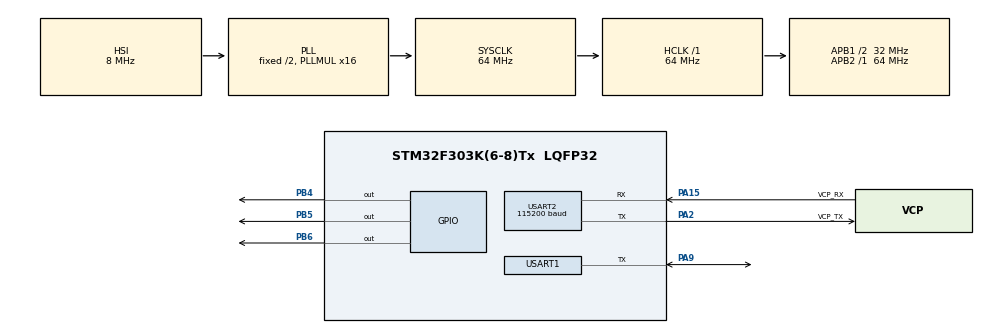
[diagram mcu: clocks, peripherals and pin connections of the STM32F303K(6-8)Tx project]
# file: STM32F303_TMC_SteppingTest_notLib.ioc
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Mcu.Family=STM32F3
Mcu.Name=STM32F303K(6-8)Tx
Mcu.Package=LQFP32
NVIC.PriorityGroup=NVIC_PRIORITYGROUP_4
NVIC.TIM3_IRQn=true\:0\:0\:false\:false\:true\:true\:true\:true
NVIC.USART2_IRQn=true\:0\:0\:false\:false\:true\:true\:true\:true
PA13.GPIO_Label=SWDIO
PA13.Mode=Serial_Wire
PA13.Signal=SYS_JTMS-SWDIO
PA14.GPIO_Label=SWCLK
PA14.Mode=Serial_Wire
PA14.Signal=SYS_JTCK-SWCLK
PA15.GPIO_Label=VCP_RX
PA15.Mode=Asynchronous
PA15.Signal=USART2_RX
PA2.GPIO_Label=VCP_TX
PA2.Mode=Asynchronous
PA2.Signal=USART2_TX
PA9.Mode=Half_duplex(single_wire_mode)
PA9.Signal=USART1_TX
PB4.Signal=GPIO_Output
PB5.Signal=GPIO_Output
PB6.Signal=GPIO_Output
PF0\ /\ OSC_IN.GPIO_Label=MCO
PF0\ /\ OSC_IN.Signal=RCC_OSC_IN
ProjectManager.HeapSize=0x200
ProjectManager.StackSize=0x400
ProjectManager.TargetToolchain=STM32CubeIDE
RCC.AHBFreq_Value=64000000
RCC.APB1CLKDivider=RCC_HCLK_DIV2
RCC.APB1Freq_Value=32000000
RCC.APB1TimFreq_Value=64000000
RCC.APB2Freq_Value=64000000
RCC.APB2TimFreq_Value=64000000
RCC.CortexFreq_Value=64000000
RCC.HCLKFreq_Value=64000000
RCC.HSE_VALUE=8000000
RCC.HSI_VALUE=8000000
RCC.PLLMUL=RCC_PLL_MUL16
RCC.SYSCLKFreq_VALUE=64000000
RCC.SYSCLKSourceVirtual=RCC_SYSCLKSOURCE_PLLCLK
USART1.BaudRate=115200
USART1.VirtualMode-Half_duplex(single_wire_mode)=VM_ASYNC
USART2.BaudRate=115200
USART2.VirtualMode-Asynchronous=VM_ASYNC
VP_TIM3_VS_ClockSourceINT.Mode=Internal
board=NUCLEO-F303K8

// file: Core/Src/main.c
/* USER CODE BEGIN Header */
/**
  ******************************************************************************
  * @file           : main.c
  * @brief          : Main program body
  ******************************************************************************
  * @attention
  *
  * Copyright (c) 2022 STMicroelectronics.
  * All rights reserved.
  *
  * This software is licensed under terms that can be found in the LICENSE file
  * in the root directory of this software component.
  * If no LICENSE file comes with this software, it is provided AS-IS.
  *
  ******************************************************************************
  */
/* USER CODE END Header */
#include "main.h"

/* USER CODE BEGIN Includes */
#include <stdio.h>
#include "tmc/ic/TMC2209/TMC2209.h"

/* USER CODE END Includes */

/* USER CODE BEGIN PD */
#define TMC2209_CRC(data, length) tmc_CRC8(data, length, 1)
/* USER CODE END PD */

 TIM_HandleTypeDef htim3;

UART_HandleTypeDef huart1;
UART_HandleTypeDef huart2;

/* USER CODE BEGIN PV */
//static TMC2209TypeDef TMC2209; //TMC2209の設定などの定義
//static ConfigurationTypeDef *TMC2209_config; //TMC2209の設定
TMC2209TypeDef TMC2209; //TMC2209の設定などの定義
ConfigurationTypeDef TMC2209_config; //TMC2209の設定
/* USER CODE END PV */

void SystemClock_Config(void);
static void MX_GPIO_Init(void);
static void MX_USART2_UART_Init(void);
static void MX_USART1_UART_Init(void);
static void MX_TIM3_Init(void);
/* USER CODE BEGIN PFP */
static void periodicJob(uint32_t tick);
static uint8_t reset(void);
static uint8_t restore(void);
//static TMC2209TypeDef TMC2209;

/* USER CODE END PFP */

/* USER CODE BEGIN 0 */

/*void HAL_TIM_PeriodElapsedCallback(TIM_HandleTypeDef *htim)
{
    if (htim == &htim3){ //htim3に設定したタイマー割り込みの時間で発火する
        HAL_GPIO_TogglePin(GPIOB, GPIO_PIN_5);//ピンの出力を切り替え
    }
}*/
void tmc2209_readWriteArray(uint8_t channel, uint8_t *data, size_t writeLength, size_t readLength)
{
	//set your uart read write
	//UART_readWrite(channelToUART(channel), data, writeLength, readLength);
	HAL_HalfDuplex_EnableTransmitter(&huart1);
	HAL_UART_Transmit(&huart1, data, writeLength,3000);

	if(readLength > 0){
		HAL_HalfDuplex_EnableReceiver(&huart1);
		HAL_UART_Receive(&huart1, data, readLength, 3000);
	}
}

uint8_t tmc2209_CRC8(uint8_t *data, size_t length)
{
	return TMC2209_CRC(data, length);
}

static void periodicJob(uint32_t tick)
{

	tmc2209_periodicJob(&TMC2209, tick);

	//StepDir_periodicJob(0);
}

static uint8_t reset()
{
	//StepDir_init(STEPDIR_PRECISION);
	//StepDir_setPins(0, Pins.STEP, Pins.DIR, Pins.DIAG);

	return tmc2209_reset(&TMC2209);
}

static uint8_t restore()
{
	return tmc2209_restore(&TMC2209);
}

void TMC2209_INIT()
{
	tmc_fillCRC8Table(0x07, true, 1);

	TMC2209_config.reset = reset;
	TMC2209_config.restore = restore;
	tmc2209_init(&TMC2209, 0, 0, &TMC2209_config, &tmc2209_defaultRegisterResetState[0]);

	//restore();
}

static inline TMC2209TypeDef *motorToIC(uint8_t motor)
{
	UNUSED(motor);

	return &TMC2209;
}

/* USER CODE END 0 */

int main(void)
{
  /* USER CODE BEGIN 1 */
	setbuf(stdout, NULL);

  /* USER CODE END 1 */

  /* MCU Configuration--------------------------------------------------------*/

  /* Reset of all peripherals, Initializes the Flash interface and the Systick. */
  HAL_Init();

  /* Configure the system clock */
  SystemClock_Config();

  /* Initialize all configured peripherals */
  MX_GPIO_Init();
  MX_USART2_UART_Init();
  MX_USART1_UART_Init();
  MX_TIM3_Init();
  /* USER CODE BEGIN 2 */
  //int getserial=0;
  TMC2209_INIT();
  printf("Hello\r\n");

  int i;
   char rxbuf[1];
   char start[] ="1:front,2:back\r\n";
   char front[] ="front turn\r\n";
   char back[] ="back turn\r\n";
   char nonans[] ="Not Understand \r\n";

   HAL_UART_Transmit(&huart2,(uint8_t *)start,sizeof(start),3000);

  //printf("Start \r\n");

  //uint8_t rxbuf[1];
   //int32_t *value=3;

   //TMC2209_FIELD_UPDATE(&TMC2209, TMC2209_CHOPCONF, TMC2209_MRES_MASK, TMC2209_MRES_SHIFT, 3 );

  /* USER CODE END 2 */

  /* Infinite loop */
  while (1)
  {

    /* USER CODE BEGIN 3 */
	  //example read register value
	  //int32_t value = 0;
	  HAL_UART_Receive(&huart2,(uint8_t *)rxbuf, sizeof(rxbuf), 100);
	  //tmc2209_writeInt(&TMC2209, TMC2209_TSTEP, 16);

	  /*
	  value = tmc2209_readInt(&TMC2209, TMC2209_FACTORY_CONF);
	  //printf("Hello\r\n");
	  //printf("Goodbye\r\n");
	  //periodicJob(HAL_GetTick());
	  //HAL_UART_Transmit(&huart2,(uint8_t *)value,sizeof(value),3000);
	  printf("FACTORY_CONF: %ld\r\n", value);
	  //HAL_UART_Transmit(&huart2,(uint8_t *)value,sizeof(value),3000);
	  //getserial=value;

	  value = tmc2209_readInt(&TMC2209, TMC2209_SG_RESULT);
	  //periodicJob(HAL_GetTick());
	  //tmc2209_writeInt(&TMC2209, );
	  printf("SG_RESULT: %ld\r\n", value);
	  //tmc2209_writeInt(&TMC2209, TMC2209_TSTEP, 16);
	  value = tmc2209_readInt(&TMC2209, TMC2209_TSTEP);
	  printf("TMC2209_TSTE: %ld\r\n", value);
	  tmc2209_writeInt(&TMC2209, 0x22, 20000);
	  value = tmc2209_readInt(&TMC2209, TMC2209_VACTUAL);
	  printf("TMC2209_VACTUAL: %ld\r\n", value);
	  value = tmc2209_readInt(&TMC2209, TMC2209_CHOPCONF);
	  printf("CHOPCONF: %ld\r\n", value);
	  value = tmc2209_readInt(&TMC2209, TMC2209_IOIN);
	  printf("TMC2209_IOIN: %ld\r\n", value);
	  */

	  	  //tmc2209_writeInt(&TMC2209, TMC2209_ENN_MASK, 0);

	  	  if (rxbuf[0] != 0){
	  		  //HAL_TIM_PWM_Start(&htim2, TIM_CHANNEL_1);
  			  tmc2209_writeInt(&TMC2209, TMC2209_ENN_MASK, 1);
	  		  HAL_UART_Transmit(&huart2,(uint8_t *)start, sizeof(start),3000);
	  		  //tmc2209_writeInt(motorToIC(motor), TMC2209_TPWMTHRS, *value);
	  		  if(rxbuf[0] == '1'){
	  			  //tmc2209_writeInt(&TMC2209, TMC2209_ENN_MASK, 1);
	  			  //tmc2209_writeInt(&TMC2209, TMC2209_ENN_SHIFT, 1);
	  			  //HAL_UART_Transmit(&huart2,(uint8_t *)front, sizeof(front),3000);
	  			  //HAL_GPIO_WritePin(GPIOB,GPIO_PIN_4,SET);
	  			  int32_t value = 0;
	  			  /*value=TMC2209_FIELD_READ(&TMC2209, TMC2209_GCONF, TMC2209_EN_SPREADCYCLE_MASK, TMC2209_EN_SPREADCYCLE_SHIFT);
	  			  printf("TMC2209_FIELD_READ_before : %ld\r\n", value);

	  			  TMC2209_FIELD_UPDATE(&TMC2209, TMC2209_GCONF, TMC2209_EN_SPREADCYCLE_MASK, TMC2209_EN_SPREADCYCLE_SHIFT, 3);

	  			  value=TMC2209_FIELD_READ(&TMC2209, TMC2209_GCONF, TMC2209_EN_SPREADCYCLE_MASK, TMC2209_EN_SPREADCYCLE_SHIFT);
	  			  printf("TMC2209_FIELD_READ_after : %ld\r\n", value);*/
	  			  //value = tmc2209_readInt(&TMC2209, TMC2209_CHOPCONF);
	  			  //value=TMC2209_FIELD_READ(&TMC2209, TMC2209_CHOPCONF, TMC2209_TOFF_MASK, TMC2209_TOFF_SHIFT);
	  			  //printf("tmc2209_readInt_before: %ld\r\n", value);

	  			  //tmc2209_writeInt(&TMC2209, TMC2209_CHOPCONF, 0x00);
	  			  //value = 0;
	  			  //TMC2209_FIELD_UPDATE(&TMC2209, TMC2209_CHOPCONF, TMC2209_TOFF_MASK, TMC2209_TOFF_SHIFT, value);
	  			  //tmc2209_periodicJob(&TMC2209, HAL_GetTick());
	  			  //HAL_Delay(200);
	  			  //value=TMC2209_FIELD_READ(&TMC2209, TMC2209_CHOPCONF, TMC2209_TOFF_MASK, TMC2209_TOFF_SHIFT);
	  			  //value = tmc2209_readInt(&TMC2209, TMC2209_CHOPCONF);
	  		  	  //printf("tmc2209_readInt_after: %ld\r\n", value);
	  		  	//tmc2209_writeInt(&TMC2209, TMC2209_ENN_MASK, 0);
	  		  	//tmc2209_writeInt(&TMC2209, TMC2209_ENN_SHIFT, 0);

	  		  	HAL_UART_Transmit(&huart2,(uint8_t *)back, sizeof(back),3000);
	  		  	HAL_GPIO_WritePin(GPIOB,GPIO_PIN_4,SET);
	  			HAL_GPIO_WritePin(GPIOB,GPIO_PIN_6,RESET);
	  		  	for(i=0;i<=3200;i++){
	  		  		HAL_GPIO_WritePin(GPIOB,GPIO_PIN_5,SET);
	  		  		HAL_Delay(1);
	  		  		HAL_GPIO_WritePin(GPIOB,GPIO_PIN_5,RESET);
	  		  	}
	  		  	  rxbuf[0]=0;
	  		  }
	  		  else if(rxbuf[0] == '2'){
		  		  //tmc2209_writeInt(&TMC2209, TMC2209_ENN_MASK, 0);
		  		  //tmc2209_writeInt(&TMC2209, TMC2209_ENN_SHIFT, 0);

	  			  HAL_UART_Transmit(&huart2,(uint8_t *)back, sizeof(back),3000);
	  			  HAL_GPIO_WritePin(GPIOB,GPIO_PIN_4,RESET);
	  			  HAL_GPIO_WritePin(GPIOB,GPIO_PIN_6,RESET);
	  			  for(i=0;i<=3200;i++){
	  				  HAL_GPIO_WritePin(GPIOB,GPIO_PIN_5,SET);
	  				  HAL_Delay(1);
	  				  HAL_GPIO_WritePin(GPIOB,GPIO_PIN_5,RESET);
	  			  }
	  			  	  //HAL_Delay(100);

	  			  	  rxbuf[0]=0;
	  		  }
	  		  else if(rxbuf[0] == '3'){
	  			  //tmc2209_writeInt(&TMC2209, TMC2209_ENN_MASK, 1);
	  			  //tmc2209_writeInt(&TMC2209, TMC2209_ENN_SHIFT, 1);
	  			  //HAL_UART_Transmit(&huart2,(uint8_t *)front, sizeof(front),3000);
	  			  //HAL_GPIO_WritePin(GPIOB,GPIO_PIN_4,SET);
	  			  int32_t value = 0;
	  			  int32_t read_value = 0;
	  			  /*value=TMC2209_FIELD_READ(&TMC2209, TMC2209_GCONF, TMC2209_EN_SPREADCYCLE_MASK, TMC2209_EN_SPREADCYCLE_SHIFT);
	  			  printf("TMC2209_FIELD_READ_before : %ld\r\n", value);

	  			  TMC2209_FIELD_UPDATE(&TMC2209, TMC2209_GCONF, TMC2209_EN_SPREADCYCLE_MASK, TMC2209_EN_SPREADCYCLE_SHIFT, 3);

	  			  value=TMC2209_FIELD_READ(&TMC2209, TMC2209_GCONF, TMC2209_EN_SPREADCYCLE_MASK, TMC2209_EN_SPREADCYCLE_SHIFT);
	  			  printf("TMC2209_FIELD_READ_after : %ld\r\n", value);*/
	  			  //value = tmc2209_readInt(&TMC2209, TMC2209_CHOPCONF);
	  			read_value=TMC2209_FIELD_READ(&TMC2209, TMC2209_IHOLD_IRUN, TMC2209_IHOLD_MASK, TMC2209_IHOLD_SHIFT);
	  			  printf("tmc2209_readInt_before: %ld\r\n", read_value);

	  			  //tmc2209_writeInt(&TMC2209, TMC2209_CHOPCONF, 0x00);
	  			  value = 15;
	  			  TMC2209_FIELD_UPDATE(&TMC2209, TMC2209_IHOLD_IRUN, TMC2209_IHOLD_MASK, TMC2209_IHOLD_SHIFT, value);
	  			  //tmc2209_periodicJob(&TMC2209, HAL_GetTick());
	  			  HAL_Delay(200);
	  			read_value=TMC2209_FIELD_READ(&TMC2209, TMC2209_IHOLD_IRUN, TMC2209_IHOLD_MASK, TMC2209_IHOLD_SHIFT);
	  			  //value = tmc2209_readInt(&TMC2209, TMC2209_CHOPCONF);
	  		  	  printf("tmc2209_readInt_after: %ld\r\n", read_value);

	  		  		  rxbuf[0]=0;
	  		  	  }
	  		  else if(rxbuf[0] == '4'){
	  			  //tmc2209_writeInt(&TMC2209, TMC2209_ENN_MASK, 1);
	  			  //tmc2209_writeInt(&TMC2209, TMC2209_ENN_SHIFT, 1);
	  			  //HAL_UART_Transmit(&huart2,(uint8_t *)front, sizeof(front),3000);
	  			  //HAL_GPIO_WritePin(GPIOB,GPIO_PIN_4,SET);
	  			  int32_t value = 0;
	  			  /*value=TMC2209_FIELD_READ(&TMC2209, TMC2209_GCONF, TMC2209_EN_SPREADCYCLE_MASK, TMC2209_EN_SPREADCYCLE_SHIFT);
	  			  printf("TMC2209_FIELD_READ_before : %ld\r\n", value);

	  			  TMC2209_FIELD_UPDATE(&TMC2209, TMC2209_GCONF, TMC2209_EN_SPREADCYCLE_MASK, TMC2209_EN_SPREADCYCLE_SHIFT, 3);

	  			  value=TMC2209_FIELD_READ(&TMC2209, TMC2209_GCONF, TMC2209_EN_SPREADCYCLE_MASK, TMC2209_EN_SPREADCYCLE_SHIFT);
	  			  printf("TMC2209_FIELD_READ_after : %ld\r\n", value);*/
	  			  //value = tmc2209_readInt(&TMC2209, TMC2209_CHOPCONF);
	  			  value=TMC2209_FIELD_READ(&TMC2209, TMC2209_IHOLD_IRUN, TMC2209_IRUN_MASK, TMC2209_IRUN_SHIFT);
	  			  printf("tmc2209_readInt_before: %ld\r\n", value);

	  			  //tmc2209_writeInt(&TMC2209, TMC2209_CHOPCONF, 0x00);
	  			  value = 20;
	  			  TMC2209_FIELD_UPDATE(&TMC2209, TMC2209_IHOLD_IRUN, TMC2209_IRUN_MASK, TMC2209_IRUN_SHIFT, value);
	  			  tmc2209_periodicJob(&TMC2209, HAL_GetTick());
	  			  HAL_Delay(200);
	  			  value=TMC2209_FIELD_READ(&TMC2209, TMC2209_IHOLD_IRUN, TMC2209_IRUN_MASK, TMC2209_IRUN_SHIFT);

	  			  //value = tmc2209_readInt(&TMC2209, TMC2209_CHOPCONF);
	  		  	  printf("tmc2209_readInt_after: %ld\r\n", value);

	  		  		  rxbuf[0]=0;
	  		  	  }
	  		  else if(rxbuf[0] == '5'){
	  			  //tmc2209_writeInt(&TMC2209, TMC2209_ENN_MASK, 1);
	  			  //tmc2209_writeInt(&TMC2209, TMC2209_ENN_SHIFT, 1);
	  			  //HAL_UART_Transmit(&huart2,(uint8_t *)front, sizeof(front),3000);
	  			  //HAL_GPIO_WritePin(GPIOB,GPIO_PIN_4,SET);
	  			  int32_t value = 0;
	  			  /*value=TMC2209_FIELD_READ(&TMC2209, TMC2209_GCONF, TMC2209_EN_SPREADCYCLE_MASK, TMC2209_EN_SPREADCYCLE_SHIFT);
	  			  printf("TMC2209_FIELD_READ_before : %ld\r\n", value);

	  			  TMC2209_FIELD_UPDATE(&TMC2209, TMC2209_GCONF, TMC2209_EN_SPREADCYCLE_MASK, TMC2209_EN_SPREADCYCLE_SHIFT, 3);

	  			  value=TMC2209_FIELD_READ(&TMC2209, TMC2209_GCONF, TMC2209_EN_SPREADCYCLE_MASK, TMC2209_EN_SPREADCYCLE_SHIFT);
	  			  printf("TMC2209_FIELD_READ_after : %ld\r\n", value);*/
	  			  //value = tmc2209_readInt(&TMC2209, TMC2209_CHOPCONF);

	  			  value=TMC2209_FIELD_READ(&TMC2209, TMC2209_DRVSTATUS, TMC2209_CS_ACTUAL_MASK, TMC2209_CS_ACTUAL_SHIFT);
	  			  printf("tmc2209_current: %ld\r\n", value);
	  			  HAL_GPIO_WritePin(GPIOB,GPIO_PIN_6,SET);
	  			  rxbuf[0]=0;
	  		  }
	  		  else if(rxbuf[0] == '6'){
	  			  //tmc2209_writeInt(&TMC2209, TMC2209_ENN_MASK, 1);
	  			  //tmc2209_writeInt(&TMC2209, TMC2209_ENN_SHIFT, 1);
	  			  //HAL_UART_Transmit(&huart2,(uint8_t *)front, sizeof(front),3000);
	  			  //HAL_GPIO_WritePin(GPIOB,GPIO_PIN_4,SET);
	  			  int32_t value = 0;
	  			  /*value=TMC2209_FIELD_READ(&TMC2209, TMC2209_GCONF, TMC2209_EN_SPREADCYCLE_MASK, TMC2209_EN_SPREADCYCLE_SHIFT);
	  			  printf("TMC2209_FIELD_READ_before : %ld\r\n", value);

	  			  TMC2209_FIELD_UPDATE(&TMC2209, TMC2209_GCONF, TMC2209_EN_SPREADCYCLE_MASK, TMC2209_EN_SPREADCYCLE_SHIFT, 3);

	  			  value=TMC2209_FIELD_READ(&TMC2209, TMC2209_GCONF, TMC2209_EN_SPREADCYCLE_MASK, TMC2209_EN_SPREADCYCLE_SHIFT);
	  			  printf("TMC2209_FIELD_READ_after : %ld\r\n", value);*/
	  			  //value = tmc2209_readInt(&TMC2209, TMC2209_CHOPCONF);
	  			  //value=TMC2209_FIELD_READ(&TMC2209, TMC2209_IHOLD_IRUN, TMC2209_IRUN_MASK, TMC2209_IRUN_SHIFT);
	  			  TMC2209_FIELD_UPDATE(&TMC2209, TMC2209_PWMCONF, TMC2209_PWM_AUTOSCALE_MASK, TMC2209_PWM_AUTOSCALE_SHIFT, 1);
	  			  value=TMC2209_FIELD_READ(&TMC2209, TMC2209_PWMCONF, TMC2209_PWM_AUTOSCALE_MASK, TMC2209_PWM_AUTOSCALE_SHIFT);
	  		  	  printf("write pwm auto scale: %ld\r\n", value);

	  		  	  rxbuf[0]=0;
	  		  	  }
	  		  else{
	  			  HAL_UART_Transmit(&huart2,(uint8_t *)nonans, sizeof(nonans),3000);
	  			  rxbuf[0]=0;
	  		  }

	  	  }

	  //HAL_Delay(100);
  }

  /* USER CODE END 3 */
}

void SystemClock_Config(void)
{
  RCC_OscInitTypeDef RCC_OscInitStruct = {0};
  RCC_ClkInitTypeDef RCC_ClkInitStruct = {0};
  RCC_PeriphCLKInitTypeDef PeriphClkInit = {0};

  /** Initializes the RCC Oscillators according to the specified parameters
  * in the RCC_OscInitTypeDef structure.
  */
  RCC_OscInitStruct.OscillatorType = RCC_OSCILLATORTYPE_HSI;
  RCC_OscInitStruct.HSIState = RCC_HSI_ON;
  RCC_OscInitStruct.HSICalibrationValue = RCC_HSICALIBRATION_DEFAULT;
  RCC_OscInitStruct.PLL.PLLState = RCC_PLL_ON;
  RCC_OscInitStruct.PLL.PLLSource = RCC_PLLSOURCE_HSI;
  RCC_OscInitStruct.PLL.PLLMUL = RCC_PLL_MUL16;
  if (HAL_RCC_OscConfig(&RCC_OscInitStruct) != HAL_OK)
  {
    Error_Handler();
  }

  /** Initializes the CPU, AHB and APB buses clocks
  */
  RCC_ClkInitStruct.ClockType = RCC_CLOCKTYPE_HCLK|RCC_CLOCKTYPE_SYSCLK
                              |RCC_CLOCKTYPE_PCLK1|RCC_CLOCKTYPE_PCLK2;
  RCC_ClkInitStruct.SYSCLKSource = RCC_SYSCLKSOURCE_PLLCLK;
  RCC_ClkInitStruct.AHBCLKDivider = RCC_SYSCLK_DIV1;
  RCC_ClkInitStruct.APB1CLKDivider = RCC_HCLK_DIV2;
  RCC_ClkInitStruct.APB2CLKDivider = RCC_HCLK_DIV1;

  if (HAL_RCC_ClockConfig(&RCC_ClkInitStruct, FLASH_LATENCY_2) != HAL_OK)
  {
    Error_Handler();
  }
  PeriphClkInit.PeriphClockSelection = RCC_PERIPHCLK_USART1;
  PeriphClkInit.Usart1ClockSelection = RCC_USART1CLKSOURCE_PCLK1;
  if (HAL_RCCEx_PeriphCLKConfig(&PeriphClkInit) != HAL_OK)
  {
    Error_Handler();
  }
}

static void MX_TIM3_Init(void)
{

  TIM_ClockConfigTypeDef sClockSourceConfig = {0};
  TIM_MasterConfigTypeDef sMasterConfig = {0};

  htim3.Instance = TIM3;
  htim3.Init.Prescaler = 0;
  htim3.Init.CounterMode = TIM_COUNTERMODE_UP;
  htim3.Init.Period = 65535;
  htim3.Init.ClockDivision = TIM_CLOCKDIVISION_DIV1;
  htim3.Init.AutoReloadPreload = TIM_AUTORELOAD_PRELOAD_DISABLE;
  if (HAL_TIM_Base_Init(&htim3) != HAL_OK)
  {
    Error_Handler();
  }
  sClockSourceConfig.ClockSource = TIM_CLOCKSOURCE_INTERNAL;
  if (HAL_TIM_ConfigClockSource(&htim3, &sClockSourceConfig) != HAL_OK)
  {
    Error_Handler();
  }
  sMasterConfig.MasterOutputTrigger = TIM_TRGO_RESET;
  sMasterConfig.MasterSlaveMode = TIM_MASTERSLAVEMODE_DISABLE;
  if (HAL_TIMEx_MasterConfigSynchronization(&htim3, &sMasterConfig) != HAL_OK)
  {
    Error_Handler();
  }

}

static void MX_USART1_UART_Init(void)
{

  huart1.Instance = USART1;
  huart1.Init.BaudRate = 115200;
  huart1.Init.WordLength = UART_WORDLENGTH_8B;
  huart1.Init.StopBits = UART_STOPBITS_1;
  huart1.Init.Parity = UART_PARITY_NONE;
  huart1.Init.Mode = UART_MODE_TX_RX;
  huart1.Init.HwFlowCtl = UART_HWCONTROL_NONE;
  huart1.Init.OverSampling = UART_OVERSAMPLING_16;
  huart1.Init.OneBitSampling = UART_ONE_BIT_SAMPLE_DISABLE;
  huart1.AdvancedInit.AdvFeatureInit = UART_ADVFEATURE_NO_INIT;
  if (HAL_HalfDuplex_Init(&huart1) != HAL_OK)
  {
    Error_Handler();
  }

}

static void MX_USART2_UART_Init(void)
{

  huart2.Instance = USART2;
  huart2.Init.BaudRate = 115200;
  huart2.Init.WordLength = UART_WORDLENGTH_8B;
  huart2.Init.StopBits = UART_STOPBITS_1;
  huart2.Init.Parity = UART_PARITY_NONE;
  huart2.Init.Mode = UART_MODE_TX_RX;
  huart2.Init.HwFlowCtl = UART_HWCONTROL_NONE;
  huart2.Init.OverSampling = UART_OVERSAMPLING_16;
  huart2.Init.OneBitSampling = UART_ONE_BIT_SAMPLE_DISABLE;
  huart2.AdvancedInit.AdvFeatureInit = UART_ADVFEATURE_NO_INIT;
  if (HAL_UART_Init(&huart2) != HAL_OK)
  {
    Error_Handler();
  }

}

static void MX_GPIO_Init(void)
{
  GPIO_InitTypeDef GPIO_InitStruct = {0};

  /* GPIO Ports Clock Enable */
  __HAL_RCC_GPIOF_CLK_ENABLE();
  __HAL_RCC_GPIOA_CLK_ENABLE();
  __HAL_RCC_GPIOB_CLK_ENABLE();

  /*Configure GPIO pin Output Level */
  HAL_GPIO_WritePin(GPIOB, GPIO_PIN_4|GPIO_PIN_5|GPIO_PIN_6, GPIO_PIN_RESET);

  /*Configure GPIO pins : PB4 PB5 PB6 */
  GPIO_InitStruct.Pin = GPIO_PIN_4|GPIO_PIN_5|GPIO_PIN_6;
  GPIO_InitStruct.Mode = GPIO_MODE_OUTPUT_PP;
  GPIO_InitStruct.Pull = GPIO_NOPULL;
  GPIO_InitStruct.Speed = GPIO_SPEED_FREQ_LOW;
  HAL_GPIO_Init(GPIOB, &GPIO_InitStruct);

}

/* USER CODE BEGIN 4 */
int _write(int file, char *ptr, int len)
{
  HAL_UART_Transmit(&huart2,(uint8_t *)ptr,len,10);
  return len;
}

//int _write(int file, char *ptr, int len)
//{
//  int DataIdx;
//  for(DataIdx=0; DataIdx<len; DataIdx++)
//  {
//    ITM_SendChar(*ptr++);
//  }
//  return len;
//}

/* USER CODE END 4 */

void Error_Handler(void)
{
  __disable_irq();
  while (1)
  {
  }
}
